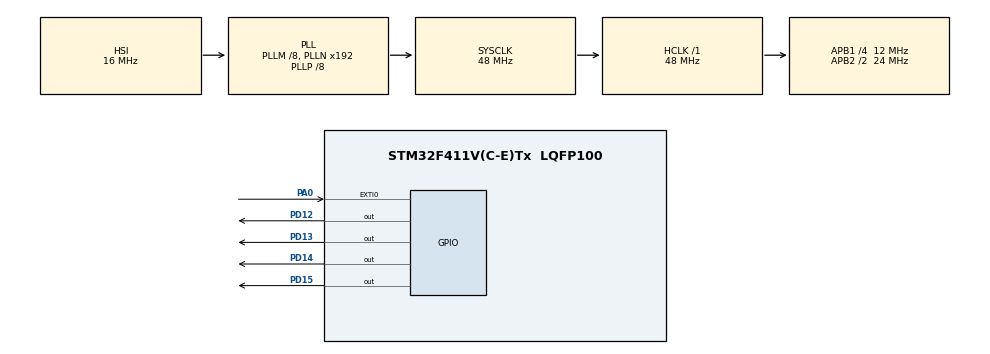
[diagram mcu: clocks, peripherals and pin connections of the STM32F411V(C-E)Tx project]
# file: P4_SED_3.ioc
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Mcu.Family=STM32F4
Mcu.Name=STM32F411V(C-E)Tx
Mcu.Package=LQFP100
NVIC.EXTI0_IRQn=true\:0\:0\:false\:false\:true\:true\:true\:true
NVIC.PriorityGroup=NVIC_PRIORITYGROUP_0
PA0-WKUP.Signal=GPXTI0
PD12.Signal=GPIO_Output
PD13.Signal=GPIO_Output
PD14.Signal=GPIO_Output
PD15.Signal=GPIO_Output
ProjectManager.HeapSize=0x200
ProjectManager.StackSize=0x400
ProjectManager.TargetToolchain=STM32CubeIDE
RCC.48MHZClocksFreq_Value=48000000
RCC.AHBFreq_Value=48000000
RCC.APB1CLKDivider=RCC_HCLK_DIV4
RCC.APB1Freq_Value=12000000
RCC.APB1TimFreq_Value=24000000
RCC.APB2CLKDivider=RCC_HCLK_DIV2
RCC.APB2Freq_Value=24000000
RCC.APB2TimFreq_Value=48000000
RCC.CortexFreq_Value=48000000
RCC.HCLKFreq_Value=48000000
RCC.HSE_VALUE=8000000
RCC.HSI_VALUE=16000000
RCC.PLLI2SM=5
RCC.PLLI2SN=200
RCC.PLLM=8
RCC.PLLP=RCC_PLLP_DIV8
RCC.PLLQ=8
RCC.SYSCLKFreq_VALUE=48000000
RCC.SYSCLKSource=RCC_SYSCLKSOURCE_PLLCLK
RCC.VCOOutputFreq_Value=384000000
board=STM32F411E-DISCO

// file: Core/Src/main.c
/* USER CODE BEGIN Header */
/**
  ******************************************************************************
  * @file           : main.c
  * @brief          : Main program body
  ******************************************************************************
  * @attention
  *
  * Copyright (c) 2023 STMicroelectronics.
  * All rights reserved.
  *
  * This software is licensed under terms that can be found in the LICENSE file
  * in the root directory of this software component.
  * If no LICENSE file comes with this software, it is provided AS-IS.
  *
  ******************************************************************************
  */
/* USER CODE END Header */
#include "main.h"

/* USER CODE BEGIN Includes */
#include <stdlib.h>
/* USER CODE END Includes */

void SystemClock_Config(void);
static void MX_GPIO_Init(void);

/* USER CODE BEGIN 0 */
volatile uint32_t contador[5];
volatile uint16_t flagPulsado = 0;
volatile uint32_t contadorAux = 0;
volatile int regionCritica = 1;
volatile uint16_t iteracion = 0;
volatile float media = 0;
volatile uint64_t suma = 0;

void HAL_GPIO_EXTI_Callback(uint16_t GPIO_Pin){
	if(GPIO_Pin == GPIO_PIN_0 && regionCritica == 0){
		contador[iteracion] = contadorAux;
		iteracion++;
		flagPulsado = 1;
	}
}
/* USER CODE END 0 */

int main(void)
{

  /* MCU Configuration--------------------------------------------------------*/

  /* Reset of all peripherals, Initializes the Flash interface and the Systick. */
  HAL_Init();

  /* Configure the system clock */
  SystemClock_Config();

  /* Initialize all configured peripherals */
  MX_GPIO_Init();
  /* USER CODE BEGIN 2 */
  uint16_t tiempoEspera;

  /* USER CODE END 2 */

  /* Infinite loop */
  while (1)
  {

    /* USER CODE BEGIN 3 */
	contadorAux = 0;

	HAL_GPIO_WritePin(GPIOD, GPIO_PIN_12, 0);
	HAL_GPIO_WritePin(GPIOD, GPIO_PIN_13, 0);
	HAL_GPIO_WritePin(GPIOD, GPIO_PIN_14, 0);
	HAL_GPIO_WritePin(GPIOD, GPIO_PIN_15, 1);

	tiempoEspera = rand () % (2000+1) + 2000;
	uint32_t tiempoAct = HAL_GetTick();

	while(tiempoAct + tiempoEspera >= HAL_GetTick()){
		HAL_NVIC_DisableIRQ(EXTI0_IRQn);
	}
	HAL_NVIC_EnableIRQ(EXTI0_IRQn);

	HAL_GPIO_WritePin(GPIOD, GPIO_PIN_12, 1);
	HAL_GPIO_WritePin(GPIOD, GPIO_PIN_15, 0);
	regionCritica = 0;

	while (!flagPulsado){
		if(HAL_GPIO_ReadPin(GPIOD, GPIO_PIN_0)){
			HAL_GPIO_EXTI_Callback(GPIO_PIN_0);
		}
		else
			contadorAux++;
	}
	regionCritica = 1;
	HAL_GPIO_WritePin(GPIOD, GPIO_PIN_14, 1);
	HAL_GPIO_WritePin(GPIOD, GPIO_PIN_12, 0);
	HAL_Delay(2000);
	flagPulsado = 0;

	int i;
	if(iteracion == 5){
		for(i = 0; i<iteracion; i++){
			suma += contador[i];
		}
		media = suma / 5;
		contadorAux = 0;
		break;
	}
  }
  /* USER CODE END 3 */
}

void SystemClock_Config(void)
{
  RCC_OscInitTypeDef RCC_OscInitStruct = {0};
  RCC_ClkInitTypeDef RCC_ClkInitStruct = {0};

  /** Configure the main internal regulator output voltage
  */
  __HAL_RCC_PWR_CLK_ENABLE();
  __HAL_PWR_VOLTAGESCALING_CONFIG(PWR_REGULATOR_VOLTAGE_SCALE1);

  /** Initializes the RCC Oscillators according to the specified parameters
  * in the RCC_OscInitTypeDef structure.
  */
  RCC_OscInitStruct.OscillatorType = RCC_OSCILLATORTYPE_HSI;
  RCC_OscInitStruct.HSIState = RCC_HSI_ON;
  RCC_OscInitStruct.HSICalibrationValue = RCC_HSICALIBRATION_DEFAULT;
  RCC_OscInitStruct.PLL.PLLState = RCC_PLL_ON;
  RCC_OscInitStruct.PLL.PLLSource = RCC_PLLSOURCE_HSI;
  RCC_OscInitStruct.PLL.PLLM = 8;
  RCC_OscInitStruct.PLL.PLLN = 192;
  RCC_OscInitStruct.PLL.PLLP = RCC_PLLP_DIV8;
  RCC_OscInitStruct.PLL.PLLQ = 8;
  if (HAL_RCC_OscConfig(&RCC_OscInitStruct) != HAL_OK)
  {
    Error_Handler();
  }

  /** Initializes the CPU, AHB and APB buses clocks
  */
  RCC_ClkInitStruct.ClockType = RCC_CLOCKTYPE_HCLK|RCC_CLOCKTYPE_SYSCLK
                              |RCC_CLOCKTYPE_PCLK1|RCC_CLOCKTYPE_PCLK2;
  RCC_ClkInitStruct.SYSCLKSource = RCC_SYSCLKSOURCE_PLLCLK;
  RCC_ClkInitStruct.AHBCLKDivider = RCC_SYSCLK_DIV1;
  RCC_ClkInitStruct.APB1CLKDivider = RCC_HCLK_DIV4;
  RCC_ClkInitStruct.APB2CLKDivider = RCC_HCLK_DIV2;

  if (HAL_RCC_ClockConfig(&RCC_ClkInitStruct, FLASH_LATENCY_1) != HAL_OK)
  {
    Error_Handler();
  }
}

static void MX_GPIO_Init(void)
{
  GPIO_InitTypeDef GPIO_InitStruct = {0};

  /* GPIO Ports Clock Enable */
  __HAL_RCC_GPIOA_CLK_ENABLE();
  __HAL_RCC_GPIOD_CLK_ENABLE();

  /*Configure GPIO pin Output Level */
  HAL_GPIO_WritePin(GPIOD, GPIO_PIN_12|GPIO_PIN_13|GPIO_PIN_14|GPIO_PIN_15, GPIO_PIN_RESET);

  /*Configure GPIO pin : PA0 */
  GPIO_InitStruct.Pin = GPIO_PIN_0;
  GPIO_InitStruct.Mode = GPIO_MODE_IT_RISING;
  GPIO_InitStruct.Pull = GPIO_NOPULL;
  HAL_GPIO_Init(GPIOA, &GPIO_InitStruct);

  /*Configure GPIO pins : PD12 PD13 PD14 PD15 */
  GPIO_InitStruct.Pin = GPIO_PIN_12|GPIO_PIN_13|GPIO_PIN_14|GPIO_PIN_15;
  GPIO_InitStruct.Mode = GPIO_MODE_OUTPUT_PP;
  GPIO_InitStruct.Pull = GPIO_NOPULL;
  GPIO_InitStruct.Speed = GPIO_SPEED_FREQ_LOW;
  HAL_GPIO_Init(GPIOD, &GPIO_InitStruct);

  /* EXTI interrupt init*/
  HAL_NVIC_SetPriority(EXTI0_IRQn, 0, 0);
  HAL_NVIC_EnableIRQ(EXTI0_IRQn);

}

void Error_Handler(void)
{
  __disable_irq();
  while (1)
  {
  }
}
